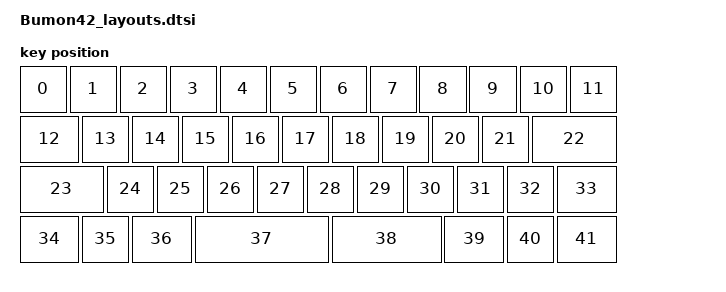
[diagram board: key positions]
#include <physical_layouts.dtsi>
// #include <Bumon42.overlay>
// #include <dt-bindings/zmk/matrix_transform.h>

/ {
    physical_layout0: physical_layout_0 {
        compatible = "zmk,physical-layout";
        display-name = "Default Layout";
        kscan = <&kscan0>;
        transform = <&default_transform>;
        keys  //                     w   h    x    y     rot    rx    ry
            = <&key_physical_attrs 100 100    0    0       0     0     0>
            , <&key_physical_attrs 100 100  100    0       0     0     0>
            , <&key_physical_attrs 100 100  200    0       0     0     0>
            , <&key_physical_attrs 100 100  300    0       0     0     0>
            , <&key_physical_attrs 100 100  400    0       0     0     0>
            , <&key_physical_attrs 100 100  500    0       0     0     0>
            , <&key_physical_attrs 100 100  600    0       0     0     0>
            , <&key_physical_attrs 100 100  700    0       0     0     0>
            , <&key_physical_attrs 100 100  800    0       0     0     0>
            , <&key_physical_attrs 100 100  900    0       0     0     0>
            , <&key_physical_attrs 100 100 1000    0       0     0     0>
            , <&key_physical_attrs 100 100 1100    0       0     0     0>
            , <&key_physical_attrs 125 100    0  100       0     0     0>
            , <&key_physical_attrs 100 100  125  100       0     0     0>
            , <&key_physical_attrs 100 100  225  100       0     0     0>
            , <&key_physical_attrs 100 100  325  100       0     0     0>
            , <&key_physical_attrs 100 100  425  100       0     0     0>
            , <&key_physical_attrs 100 100  525  100       0     0     0>
            , <&key_physical_attrs 100 100  625  100       0     0     0>
            , <&key_physical_attrs 100 100  725  100       0     0     0>
            , <&key_physical_attrs 100 100  825  100       0     0     0>
            , <&key_physical_attrs 100 100  925  100       0     0     0>
            , <&key_physical_attrs 175 100 1025  100       0     0     0>
            , <&key_physical_attrs 175 100    0  200       0     0     0>
            , <&key_physical_attrs 100 100  175  200       0     0     0>
            , <&key_physical_attrs 100 100  275  200       0     0     0>
            , <&key_physical_attrs 100 100  375  200       0     0     0>
            , <&key_physical_attrs 100 100  475  200       0     0     0>
            , <&key_physical_attrs 100 100  575  200       0     0     0>
            , <&key_physical_attrs 100 100  675  200       0     0     0>
            , <&key_physical_attrs 100 100  775  200       0     0     0>
            , <&key_physical_attrs 100 100  875  200       0     0     0>
            , <&key_physical_attrs 100 100  975  200       0     0     0>
            , <&key_physical_attrs 125 100 1075  200       0     0     0>
            , <&key_physical_attrs 125 100    0  300       0     0     0>
            , <&key_physical_attrs 100 100  125  300       0     0     0>
            , <&key_physical_attrs 125 100  225  300       0     0     0>
            , <&key_physical_attrs 275 100  350  300       0     0     0>
            , <&key_physical_attrs 225 100  625  300       0     0     0>
            , <&key_physical_attrs 125 100  850  300       0     0     0>
            , <&key_physical_attrs 100 100  975  300       0     0     0>
            , <&key_physical_attrs 125 100 1075  300       0     0     0>
            ;
    };
    position_map:position_map {
        compatible = "zmk,physical-layout-position-map";
        complete;
        // physical_layout0 {
        //     physical-layout = <&physical_layout0>;
        //     positions = <0 1 2 3 4 5 6 7 8 9 10 11>
        //                , <12 13 14 15 16 17 18 19 20 21 22>
        //                , <23 24 25 26 27 28 29 30 31 32 33>
        //                , <34 35 36 37 38 39 40 41 >
        //                ;    
        // };
    };
        

};
&position_map {
    default_position_map: default {
        physical-layout = <&physical_layout0>;
         positions
                = < 0  1  2  3  4  5  6  7  8  9 10 11 12 13 14 15>
                , <16 17 18 19 20 21 22 23 24 25 26 27 28 29 30 31>
                , <32 33 34 35 36 37 38 39 40 41>
                ;
    };
};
